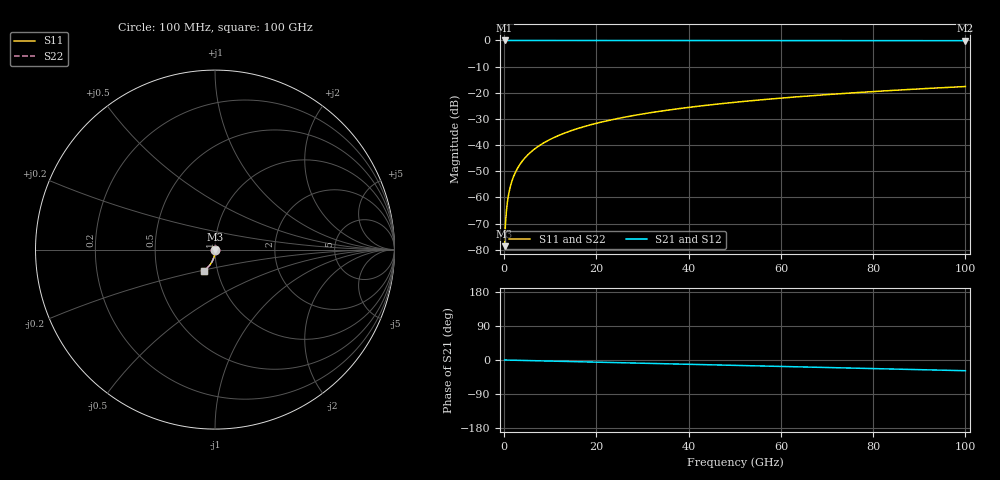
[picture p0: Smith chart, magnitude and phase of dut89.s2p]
! Touchstone file exported from HFSS 2026.1.0
!  File:  C:/ffzhzh/LocalFiles/Ansys_Project_Files/temp_train_TSV_89_1783505566_55944.aedt
!  Generated:  06:13:57 PM Jul  8, 2026
!  Design:  TSV
!  Project:  temp_train_TSV_89_1783505566_55944
! Variables:
!  h_bsmrdl = 2um
!  h_ox = 20um
!  h_rdl = 5um
!  h_sub = 52.69um
!  h_tmrdl = 5um
!  h_tsv = 52.69um
!  h_via = 3um
!  l_bsmrdl = 300um
!  l_sub = 428.32um
!  l_tmrdl = 200um
!  m_sub = 200um
!  pitch = 44.28um
!  r_tsv = 14.16um
!  s_tmrdl = 10um
!  w_bsmrdl = 18um
!  w_sub = 500um
!  w_tmrdl = 12um
!  x_tsv_center1 = 206um
!  x_tsv_center2 = 524um
!  x_tsv_center3 = 736um
!  x_tsv_center4 = 1054um
!  x_tsv_center5 = 1266um
!  x_tsv_center6 = 1584um
# GHz S MA R 50.000000
! Terminal data exported
! Port[1] = TSV1_1_T1
! Port[2] = TSV1_1_T2
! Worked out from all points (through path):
!   1000 points, 100 MHz to 100 GHz, reference 50 ohm
!   highest |S21| = 0.00 dB at 100 MHz (marker M1); lowest = -0.1 dB at 100 GHz (marker M2)
!   group delay of S21, straight-line fit = 785 fs
!   lowest |S11| = -78.6 dB at 100 MHz (marker M3), VSWR 1.00, Z = 50 - j0.01 ohm
!   |S11| at or under -10 dB: start of sweep to end of sweep
!   |S22| runs from -78.6 to -17.6 dB; largest |S21 - S12| = 2.1e-15
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0.1  0.0001174 -58.8  0.9999 -0.0  0.9999 -0.0  0.0001174 -58.8
! Gamma 0 0 0 0
! Port Impedance 50 0 50 0
0.4  0.0004419 -76.7  0.9999 -0.1  0.9999 -0.1  0.0004419 -76.7
0.7  0.0008092 -80.0  0.9999 -0.2  0.9999 -0.2  0.0008092 -80.0
0.8  0.0009347 -80.7  0.9998 -0.2  0.9998 -0.2  0.0009347 -80.7
1  0.001187 -81.9  0.9998 -0.3  0.9998 -0.3  0.001187 -81.9
1.3  0.001567 -83.2  0.9998 -0.4  0.9998 -0.4  0.001567 -83.2
1.7  0.002075 -84.4  0.9998 -0.5  0.9998 -0.5  0.002075 -84.4
2.3  0.002843 -85.5  0.9997 -0.7  0.9997 -0.7  0.002843 -85.5
2.9  0.003615 -86.3  0.9997 -0.8  0.9997 -0.8  0.003615 -86.3
3.7  0.004652 -87.0  0.9997 -1.1  0.9997 -1.1  0.004652 -87.0
4.7  0.005956 -87.8  0.9996 -1.3  0.9996 -1.3  0.005956 -87.8
5.8  0.007395 -88.5  0.9996 -1.7  0.9996 -1.7  0.007395 -88.5
8.6  0.01107 -89.9  0.9994 -2.4  0.9994 -2.4  0.01107 -89.9
12.2  0.01581 -91.3  0.9993 -3.5  0.9993 -3.5  0.01581 -91.3
16.8  0.02189 -92.9  0.999 -4.8  0.999 -4.8  0.02189 -92.9
24.1  0.03156 -95.3  0.9986 -6.8  0.9986 -6.8  0.03156 -95.3
33.4  0.04388 -98.2  0.998 -9.5  0.998 -9.5  0.04388 -98.2
41.2  0.05422 -100.5  0.9974 -11.7  0.9974 -11.7  0.05422 -100.5
50.1  0.06602 -103.1  0.9965 -14.2  0.9965 -14.2  0.06602 -103.1
66.7  0.08801 -107.9  0.9946 -18.9  0.9946 -18.9  0.08801 -107.9
83.4  0.1101 -112.8  0.9922 -23.6  0.9922 -23.6  0.1101 -112.8
100  0.1318 -117.6  0.9892 -28.3  0.9892 -28.3  0.1318 -117.6
